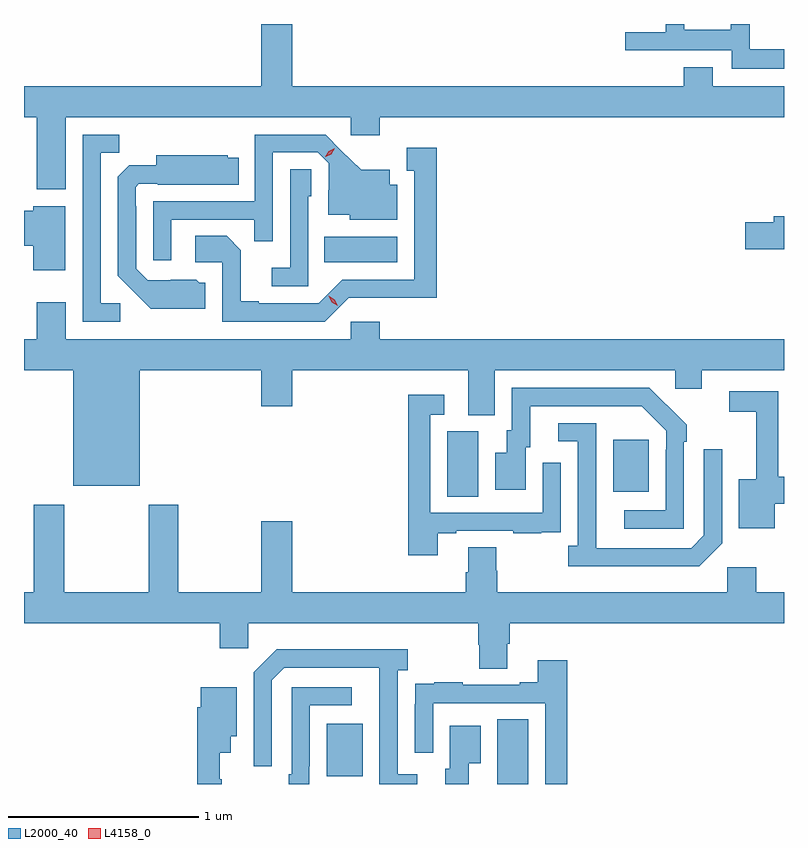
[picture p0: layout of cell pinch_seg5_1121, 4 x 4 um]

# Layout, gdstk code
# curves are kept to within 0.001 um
import gdstk
lib = gdstk.Library(unit=1e-6, precision=1e-09)
def R(c, l, rs):  # rectangles x0, y0, x1, y1
    for r in rs: c.add(gdstk.rectangle(r[:2], r[2:], *l))
def P(c, l, *ps):  # polygons
    for p in ps: c.add(gdstk.Polygon(p, *l))
L2000_40 = (2000, 40)
L4158_0 = (4158, 0)

pinch_seg5_1121 = lib.new_cell('pinch_seg5_1121')
R(pinch_seg5_1121, L2000_40, [(789.626,835.935,789.79,836.276), (788.729,835.977,788.917,836.251), (789.362,837.448,789.526,837.792), (790.235,837.473,790.423,837.748), (788.716,838.682,789.1,838.816), (791.073,839.933,791.135,839.935)])
P(pinch_seg5_1121, L2000_40, [(787.354,839.444),(788.856,839.444),(788.856,839.349),(789.008,839.349),(789.008,839.444),(791.135,839.444),(791.135,839.608),(790.759,839.608),(790.759,839.707),(790.607,839.707),(790.607,839.608),(788.548,839.608),(788.548,839.935),(788.384,839.935),(788.384,839.608),(787.135,839.608),(787.135,839.444),(787.202,839.444),(787.202,839.064),(787.354,839.064)],
  [(791.135,839.803),(790.956,839.803),(790.956,839.935),(790.855,839.935),(790.855,839.905),(790.611,839.905),(790.611,839.935),(790.512,839.935),(790.512,839.892),(790.299,839.892),(790.299,839.796),(790.86,839.796),(790.86,839.699),(791.135,839.699)],
  [(787.642,838.464),(787.539,838.464),(787.539,839.257),(787.635,839.257),(787.635,839.352),(787.443,839.352),(787.443,838.368),(787.642,838.368)],
  [(787.911,838.905),(788.347,838.905),(788.347,838.792),(788.445,838.792),(788.445,839.259),(788.682,839.259),(788.739,839.202),(788.739,839.06),(788.735,839.06),(788.735,838.931),(788.85,838.931),(788.85,838.904),(789.1,838.904),(789.1,839.089),(789.061,839.089),(789.061,839.167),(788.909,839.167),(788.722,839.352),(788.349,839.352),(788.349,839.001),(787.815,839.001),(787.815,838.692),(787.911,838.692)],
  [(788.844,838.494),(789.307,838.493),(789.307,839.284),(789.149,839.284),(789.149,839.163),(789.188,839.163),(789.188,838.59),(788.811,838.59),(788.685,838.464),(788.371,838.464),(788.371,838.477),(788.277,838.477),(788.277,838.744),(788.201,838.82),(788.037,838.82),(788.037,838.68),(788.178,838.68),(788.178,838.368),(788.718,838.368)],
  [(788.089,838.572),(788.058,838.572),(788.042,838.588),(787.785,838.587),(787.725,838.647),(787.725,838.976),(787.722,838.976),(787.722,839.076),(787.74,839.094),(787.84,839.094),(787.84,839.09),(788.264,839.09),(788.264,839.23),(788.208,839.23),(788.208,839.245),(787.832,839.245),(787.832,839.191),(787.688,839.191),(787.629,839.132),(787.629,838.61),(787.801,838.436),(788.089,838.436)],
  [(788.631,839.028),(788.646,839.028),(788.646,839.171),(788.535,839.171),(788.535,838.651),(788.439,838.651),(788.439,838.554),(788.631,838.554)],
  [(787.351,838.975),(787.184,838.975),(787.184,838.952),(787.135,838.952),(787.135,838.769),(787.184,838.769),(787.184,838.638),(787.351,838.638)],
  [(791.135,838.922),(791.081,838.922),(791.081,838.892),(790.932,838.892),(790.932,838.75),(791.135,838.75)],
  [(787.744,838.112),(788.384,838.112),(788.384,837.924),(788.548,837.924),(788.548,838.112),(789.473,838.112),(789.473,837.877),(789.613,837.877),(789.613,838.112),(790.563,838.112),(790.563,838.014),(790.702,838.014),(790.702,838.112),(791.135,838.112),(791.135,838.276),(789.008,838.276),(789.008,838.369),(788.856,838.369),(788.856,838.276),(787.354,838.276),(787.354,838.471),(787.202,838.471),(787.202,838.276),(787.135,838.276),(787.135,838.112),(787.394,838.112),(787.394,837.506),(787.744,837.506)],
  [(790.608,837.737),(790.623,837.737),(790.623,837.825),(790.426,838.02),(789.702,838.02),(789.702,837.798),(789.677,837.798),(789.677,837.679),(789.614,837.679),(789.614,837.483),(789.775,837.483),(789.775,837.708),(789.799,837.708),(789.799,837.924),(790.387,837.924),(790.515,837.795),(790.515,837.695),(790.512,837.695),(790.512,837.375),(790.293,837.375),(790.293,837.279),(790.608,837.279)],
  [(791.086,837.409),(791.135,837.409),(791.135,837.551),(791.105,837.551),(791.105,838.002),(790.848,838.002),(790.848,837.894),(790.988,837.894),(790.988,837.538),(790.898,837.538),(790.898,837.281),(791.086,837.281)],
  [(789.313,837.255),(789.409,837.255),(789.409,837.267),(789.709,837.267),(789.709,837.255),(789.857,837.255),(789.857,837.261),(789.959,837.261),(789.959,837.37),(789.96,837.37),(789.96,837.625),(789.864,837.625),(789.864,837.363),(789.273,837.363),(789.273,837.879),(789.346,837.879),(789.346,837.985),(789.157,837.985),(789.157,837.138),(789.313,837.138)],
  [(790.809,837.201),(790.809,837.697),(790.713,837.697),(790.713,837.243),(790.647,837.177),(790.147,837.177),(790.146,837.834),(789.948,837.834),(789.948,837.738),(790.05,837.738),(790.05,837.19),(789.999,837.19),(789.999,837.08),(790.688,837.08)],
  [(789.679,836.674),(789.692,836.674),(789.692,836.78),(791.135,836.78),(791.135,836.944),(790.988,836.944),(790.988,837.076),(790.836,837.076),(790.836,836.944),(789.626,836.944),(789.626,837.057),(789.621,837.057),(789.621,837.182),(789.473,837.182),(789.473,837.05),(789.461,837.05),(789.461,836.944),(788.548,836.944),(788.548,837.319),(788.384,837.319),(788.384,836.944),(787.947,836.944),(787.947,837.406),(787.792,837.406),(787.792,836.944),(787.347,836.944),(787.347,837.406),(787.187,837.406),(787.187,836.944),(787.135,836.944),(787.135,836.78),(788.165,836.78),(788.165,836.649),(788.316,836.649),(788.316,836.78),(789.527,836.78),(789.527,836.667),(789.532,836.667),(789.532,836.542),(789.679,836.542)],
  [(789.205,835.986),(789.102,835.986),(789.102,836.534),(789.154,836.534),(789.154,836.644),(788.464,836.644),(788.343,836.523),(788.343,836.028),(788.439,836.028),(788.439,836.481),(788.505,836.547),(789.005,836.547),(789.006,835.935),(789.205,835.935)],
  [(789.995,836.587),(789.839,836.587),(789.839,836.47),(789.743,836.47),(789.743,836.457),(789.443,836.457),(789.443,836.47),(789.295,836.47),(789.295,836.463),(789.193,836.463),(789.193,836.354),(789.192,836.354),(789.192,836.1),(789.288,836.1),(789.288,836.361),(789.879,836.361),(789.879,835.935),(789.995,835.935)],
  [(788.637,836.029),(788.64,836.029),(788.64,836.349),(788.86,836.349),(788.86,836.445),(788.544,836.445),(788.544,835.987),(788.529,835.987),(788.529,835.935),(788.637,835.935)],
  [(788.176,835.959),(788.165,835.959),(788.165,836.099),(788.224,836.099),(788.224,836.186),(788.254,836.186),(788.254,836.443),(788.066,836.443),(788.066,836.339),(788.047,836.339),(788.047,835.935),(788.176,835.935)],
  [(789.475,836.045),(789.538,836.045),(789.538,836.242),(789.377,836.242),(789.377,836.016),(789.353,836.016),(789.353,835.935),(789.475,835.935)])
P(pinch_seg5_1121, L4158_0, [(788.721,839.236),(788.721,839.236),(788.739,839.265),(788.771,839.28),(788.771,839.28),(788.771,839.28),(788.753,839.25),(788.722,839.236)],
  [(788.787,838.452),(788.755,838.471),(788.738,838.504),(788.738,838.504),(788.738,838.504),(788.77,838.485),(788.787,838.452),(788.787,838.452)])

lib.write_gds('pinch_seg5_1121.gds')
